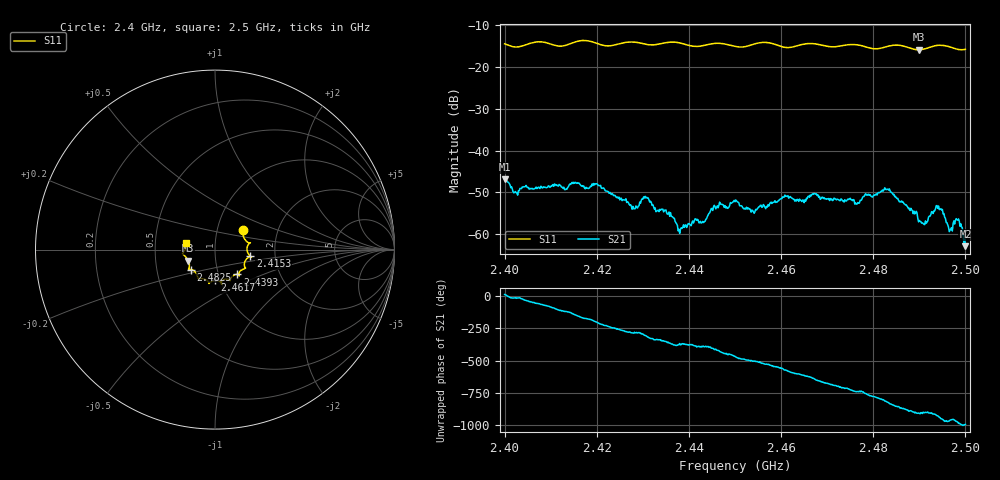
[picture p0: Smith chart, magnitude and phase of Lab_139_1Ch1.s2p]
# Hz S RI R 50
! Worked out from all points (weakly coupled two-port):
!   601 points, 2.4 GHz to 2.5 GHz, reference 50 ohm
!   highest |S21| = -46.88 dB at 2.4 GHz (marker M1); lowest = -62.9 dB at 2.5 GHz (marker M2)
!   lowest |S11| = -15.9 dB at 2.49 GHz (marker M3), VSWR 1.38, Z = 36.8 - j4.72 ohm
!   |S11| at or under -10 dB: start of sweep to end of sweep
!   S12 and S22 are empty: the file has one direction only
!   S11 on the Smith chart (normalised r, x): 2.4 GHz: 1.33, +0.30; 2.4153 GHz: 1.48, -0.11; 2.4393 GHz: 1.23, -0.35; 2.4617 GHz: 0.94, -0.33; 2.4825 GHz: 0.75, -0.17; 2.5 GHz: 0.72, +0.05
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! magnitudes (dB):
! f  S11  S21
! 2.4 GHz  -14.4  -46.9
! 2.4023 GHz  -15.2  -49.8
! 2.4153 GHz  -14.0  -47.6
! 2.4167 GHz  -13.6  -48.5
! 2.4203 GHz  -14.4  -48.4
! 2.4282 GHz  -14.0  -54.0
! 2.4307 GHz  -14.5  -51.4
! 2.4333 GHz  -14.5  -54.3
! 2.438 GHz  -14.2  -59.8
! 2.4393 GHz  -14.6  -57.8
! 2.45 GHz  -15.0  -52.3
! 2.454 GHz  -14.5  -54.7
! 2.4617 GHz  -15.3  -51.4
! 2.4667 GHz  -14.4  -50.6
! 2.4765 GHz  -14.7  -52.8
! 2.4825 GHz  -15.2  -48.9
! 2.4833 GHz  -15.0  -49.5
! 2.49 GHz  -15.9  -56.7
! 2.4942 GHz  -14.8  -53.3
! 2.4967 GHz  -15.2  -59.1
! 2.4985 GHz  -15.8  -56.4
! 2.5 GHz  -15.7  -62.9
